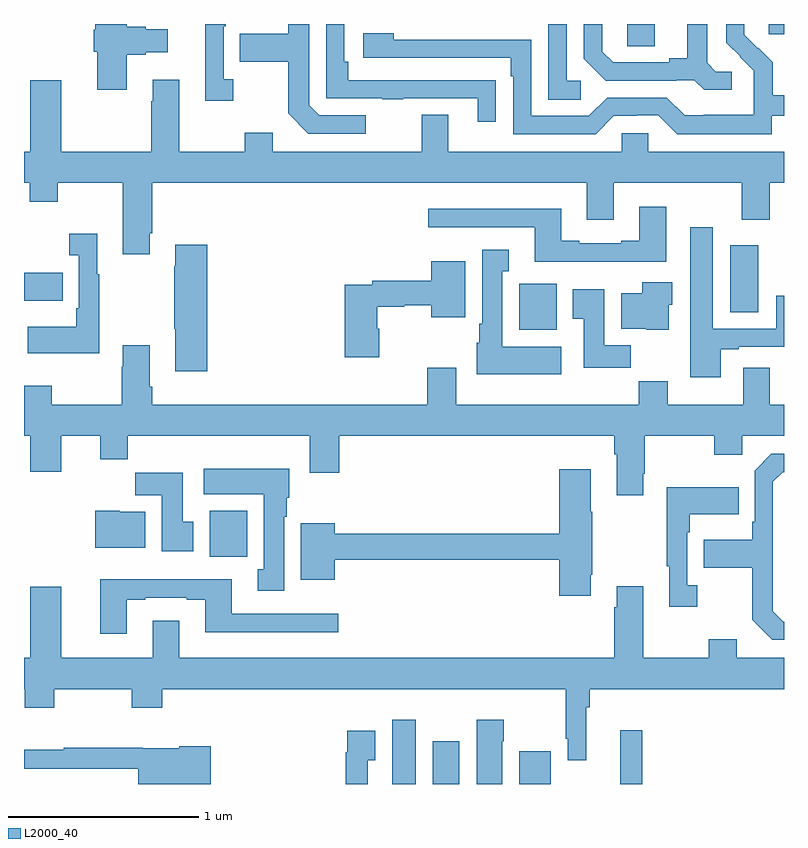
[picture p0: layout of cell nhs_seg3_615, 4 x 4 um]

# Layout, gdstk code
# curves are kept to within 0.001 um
import gdstk
lib = gdstk.Library(unit=1e-6, precision=1e-09)
def R(c, l, rs):  # rectangles x0, y0, x1, y1
    for r in rs: c.add(gdstk.rectangle(r[:2], r[2:], *l))
def P(c, l, *ps):  # polygons
    for p in ps: c.add(gdstk.Polygon(p, *l))
L2000_40 = (2000, 40)

nhs_seg3_615 = lib.new_cell('nhs_seg3_615')
R(nhs_seg3_615, L2000_40, [(142.937,716.4,143.062,716.737), (143.15,716.4,143.29,716.626), (143.606,716.4,143.773,716.572), (144.137,716.4,144.254,716.683), (141.977,717.596,142.174,717.838), (143.606,718.79,143.803,719.032), (144.716,718.882,144.865,719.236), (141,718.943,141.203,719.091), (144.174,720.283,144.319,720.4), (144.92,720.345,145,720.4)])
P(nhs_seg3_615, L2000_40, [(144.724,720.15),(144.642,720.15),(144.595,720.197),(144.595,720.4),(144.491,720.4),(144.491,720.221),(144.395,720.221),(144.395,720.198),(144.1,720.198),(144.043,720.255),(144.043,720.4),(143.946,720.4),(143.946,720.218),(144.062,720.102),(144.434,720.102),(144.434,720.105),(144.528,720.105),(144.58,720.053),(144.724,720.053)],
  [(143.929,720.102),(143.856,720.102),(143.856,720.4),(143.76,720.4),(143.76,720.001),(143.929,720.001)],
  [(144.936,719.916),(145,719.916),(145,720.025),(144.941,720.025),(144.941,720.199),(144.864,720.276),(144.861,720.273),(144.791,720.344),(144.791,720.4),(144.696,720.4),(144.696,720.302),(144.842,720.154),(144.842,720.057),(144.84,720.057),(144.84,719.923),(144.577,719.923),(144.577,719.919),(144.477,719.919),(144.384,720.012),(144.069,720.012),(143.973,719.916),(143.67,719.916),(143.67,720.318),(142.946,720.318),(142.946,720.352),(142.785,720.352),(142.785,720.222),(143.561,720.222),(143.561,720.125),(143.574,720.125),(143.574,719.82),(144.009,719.82),(144.105,719.916),(144.224,719.916),(144.224,719.919),(144.339,719.919),(144.439,719.819),(144.936,719.819)],
  [(143.483,720.104),(143.381,720.104),(143.381,720.105),(142.706,720.105),(142.706,720.202),(142.686,720.202),(142.686,720.4),(142.59,720.4),(142.59,720.009),(142.885,720.009),(142.885,720.004),(142.997,720.004),(142.997,720.009),(143.387,720.009),(143.387,719.886),(143.483,719.886)],
  [(142.798,719.919),(142.554,719.919),(142.5,719.973),(142.5,720.4),(142.392,720.4),(142.392,720.349),(142.135,720.349),(142.135,720.202),(142.392,720.202),(142.392,719.929),(142.497,719.823),(142.798,719.823)],
  [(141.541,720.239),(141.641,720.239),(141.641,720.251),(141.757,720.251),(141.757,720.373),(141.641,720.373),(141.641,720.386),(141.541,720.386),(141.541,720.4),(141.374,720.4),(141.374,720.369),(141.368,720.369),(141.368,720.255),(141.386,720.255),(141.386,720.054),(141.541,720.054)],
  [(142.102,720.11),(142.05,720.11),(142.05,720.389),(142.063,720.389),(142.063,720.4),(141.953,720.4),(141.953,719.997),(142.102,719.997)],
  [(141.661,719.299),(141.674,719.299),(141.674,719.564),(143.963,719.564),(143.963,719.37),(144.103,719.37),(144.103,719.564),(144.778,719.564),(144.778,719.37),(144.925,719.37),(144.925,719.564),(145,719.564),(145,719.728),(144.285,719.728),(144.285,719.826),(144.147,719.826),(144.147,719.728),(143.233,719.728),(143.233,719.923),(143.093,719.923),(143.093,719.728),(142.309,719.728),(142.309,719.827),(142.162,719.827),(142.162,719.728),(141.817,719.728),(141.817,720.106),(141.677,720.106),(141.677,719.993),(141.67,719.993),(141.67,719.728),(141.196,719.728),(141.196,720.103),(141.032,720.103),(141.032,719.728),(141,719.728),(141,719.564),(141.029,719.564),(141.029,719.465),(141.177,719.465),(141.177,719.564),(141.521,719.564),(141.521,719.187),(141.661,719.187)],
  [(144.379,719.437),(144.239,719.437),(144.239,719.26),(144.143,719.26),(144.143,719.247),(143.923,719.247),(143.923,719.26),(143.827,719.26),(143.827,719.428),(143.127,719.428),(143.127,719.331),(143.687,719.331),(143.687,719.15),(144.379,719.15)],
  [(144.667,718.689),(144.763,718.689),(144.763,718.701),(145,718.701),(145,718.969),(144.959,718.969),(144.959,718.797),(144.625,718.797),(144.625,719.329),(144.506,719.329),(144.506,718.542),(144.667,718.542)],
  [(141.397,719.083),(141.385,719.083),(141.385,719.296),(141.237,719.296),(141.237,719.183),(141.288,719.183),(141.288,718.903),(141.276,718.903),(141.276,718.807),(141.019,718.807),(141.019,718.667),(141.397,718.667)],
  [(141.965,719.239),(141.797,719.239),(141.797,719.126),(141.79,719.126),(141.79,718.795),(141.797,718.795),(141.797,718.572),(141.965,718.572)],
  [(143.827,718.702),(143.518,718.702),(143.518,719.099),(143.551,719.099),(143.551,719.212),(143.411,719.212),(143.411,718.822),(143.396,718.822),(143.396,718.722),(143.384,718.722),(143.384,718.556),(143.827,718.556)],
  [(142.871,718.797),(142.858,718.797),(142.858,718.912),(143.001,718.912),(143.001,718.92),(143.144,718.92),(143.144,718.856),(143.323,718.856),(143.323,719.152),(143.144,719.152),(143.144,719.048),(142.834,719.048),(142.834,719.028),(142.688,719.028),(142.688,718.647),(142.871,718.647)],
  [(144.394,718.923),(144.412,718.923),(144.412,719.041),(144.254,719.041),(144.254,718.984),(144.143,718.984),(144.143,718.796),(144.276,718.796),(144.276,718.79),(144.394,718.79)],
  [(144.194,718.708),(144.055,718.708),(144.055,719.005),(143.888,719.005),(143.888,718.849),(143.945,718.849),(143.945,718.59),(144.194,718.59)],
  [(141.674,718.492),(141.661,718.492),(141.661,718.708),(141.521,718.708),(141.521,718.595),(141.514,718.595),(141.514,718.396),(141.147,718.396),(141.147,718.495),(141,718.495),(141,718.232),(141.032,718.232),(141.032,718.044),(141.196,718.044),(141.196,718.232),(141.401,718.232),(141.401,718.108),(141.545,718.108),(141.545,718.232),(142.505,718.232),(142.505,718.038),(142.658,718.038),(142.658,718.232),(144.107,718.232),(144.107,718.136),(144.119,718.136),(144.119,717.921),(144.259,717.921),(144.259,718.033),(144.267,718.033),(144.267,718.232),(144.634,718.232),(144.634,718.133),(144.78,718.133),(144.78,718.232),(145,718.232),(145,718.396),(144.925,718.396),(144.925,718.591),(144.785,718.591),(144.785,718.396),(144.387,718.396),(144.387,718.52),(144.235,718.52),(144.235,718.396),(143.275,718.396),(143.275,718.591),(143.123,718.591),(143.123,718.396),(141.674,718.396)],
  [(145,717.255),(144.996,717.255),(144.942,717.309),(144.942,717.99),(144.993,718.041),(145,718.041),(145,718.137),(144.933,718.137),(144.846,718.05),(144.846,717.781),(144.834,717.781),(144.834,717.685),(144.577,717.685),(144.577,717.538),(144.834,717.538),(144.834,717.265),(144.939,717.159),(145,717.159)],
  [(142.369,717.806),(142.384,717.806),(142.384,717.906),(142.396,717.906),(142.396,718.06),(141.945,718.06),(141.945,717.926),(142.262,717.926),(142.262,717.53),(142.229,717.53),(142.229,717.417),(142.369,717.417)],
  [(143.983,717.502),(143.991,717.502),(143.991,717.833),(143.983,717.833),(143.983,718.057),(143.816,718.057),(143.816,717.716),(142.636,717.716),(142.636,717.772),(142.457,717.772),(142.457,717.476),(142.636,717.476),(142.636,717.58),(143.816,717.58),(143.816,717.39),(143.983,717.39)],
  [(141.892,717.78),(141.835,717.78),(141.835,718.039),(141.586,718.039),(141.586,717.92),(141.725,717.92),(141.725,717.624),(141.892,717.624)],
  [(144.544,717.446),(144.492,717.446),(144.492,717.725),(144.505,717.725),(144.505,717.821),(144.761,717.821),(144.761,717.961),(144.384,717.961),(144.384,717.545),(144.395,717.545),(144.395,717.333),(144.544,717.333)],
  [(141.637,717.832),(141.504,717.832),(141.504,717.838),(141.374,717.838),(141.374,717.644),(141.637,717.644)],
  [(141.541,717.369),(141.637,717.369),(141.637,717.381),(141.857,717.381),(141.857,717.369),(141.953,717.369),(141.953,717.2),(142.654,717.2),(142.654,717.297),(142.093,717.297),(142.093,717.478),(141.401,717.478),(141.401,717.192),(141.541,717.192)],
  [(143.96,716.804),(143.978,716.804),(143.978,716.9),(145,716.9),(145,717.064),(144.751,717.064),(144.751,717.163),(144.604,717.163),(144.604,717.064),(144.259,717.064),(144.259,717.442),(144.119,717.442),(144.119,717.329),(144.107,717.329),(144.107,717.064),(141.817,717.064),(141.817,717.259),(141.677,717.259),(141.677,717.064),(141.196,717.064),(141.196,717.439),(141.032,717.439),(141.032,717.064),(141,717.064),(141,716.9),(141.004,716.9),(141.004,716.801),(141.159,716.801),(141.159,716.9),(141.568,716.9),(141.568,716.801),(141.728,716.801),(141.728,716.9),(143.85,716.9),(143.85,716.638),(143.862,716.638),(143.862,716.526),(143.96,716.526)],
  [(143.518,716.624),(143.526,716.624),(143.526,716.737),(143.384,716.737),(143.384,716.4),(143.518,716.4)],
  [(142.809,716.524),(142.849,716.524),(142.849,716.68),(142.701,716.68),(142.701,716.567),(142.693,716.567),(142.693,716.4),(142.809,716.4)],
  [(141.983,716.599),(141.816,716.599),(141.816,716.587),(141.624,716.587),(141.624,716.59),(141.209,716.59),(141.209,716.58),(141,716.58),(141,716.48),(141.056,716.48),(141.056,716.481),(141.39,716.481),(141.39,716.48),(141.6,716.48),(141.6,716.4),(141.983,716.4)])

lib.write_gds('nhs_seg3_615.gds')
